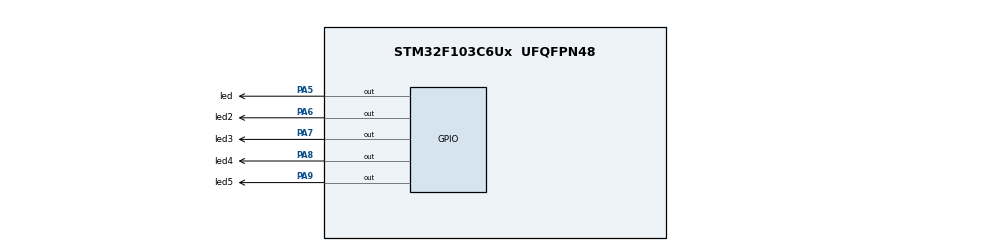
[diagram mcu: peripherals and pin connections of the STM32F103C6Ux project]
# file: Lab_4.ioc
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Mcu.Family=STM32F1
Mcu.Name=STM32F103C6Ux
Mcu.Package=UFQFPN48
NVIC.PriorityGroup=NVIC_PRIORITYGROUP_4
NVIC.TIM2_IRQn=true\:0\:0\:false\:false\:true\:true\:true
PA5.GPIO_Label=led
PA5.Signal=GPIO_Output
PA6.GPIO_Label=led2
PA6.Signal=GPIO_Output
PA7.GPIO_Label=led3
PA7.Signal=GPIO_Output
PA8.GPIO_Label=led4
PA8.Signal=GPIO_Output
PA9.GPIO_Label=led5
PA9.Signal=GPIO_Output
ProjectManager.HeapSize=0x200
ProjectManager.StackSize=0x400
ProjectManager.TargetToolchain=STM32CubeIDE
RCC.APB1Freq_Value=8000000
RCC.APB2Freq_Value=8000000
TIM2.Period=9
TIM2.Prescaler=7999
VP_SYS_VS_ND.Mode=No_Debug
VP_TIM2_VS_ClockSourceINT.Mode=Internal
board=custom

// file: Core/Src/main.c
/* USER CODE BEGIN Header */
/**
  ******************************************************************************
  * @file           : main.c
  * @brief          : Main program body
  ******************************************************************************
  * @attention
  *
  * <h2><center>&copy; Copyright (c) 2022 STMicroelectronics.
  * All rights reserved.</center></h2>
  *
  * This software component is licensed by ST under BSD 3-Clause license,
  * the "License"; You may not use this file except in compliance with the
  * License. You may obtain a copy of the License at:
  *                        opensource.org/licenses/BSD-3-Clause
  *
  ******************************************************************************
  */
/* USER CODE END Header */
#include "main.h"

/* USER CODE BEGIN Includes */
#include "scheduler.h"
/* USER CODE END Includes */

TIM_HandleTypeDef htim2;

void SystemClock_Config(void);
static void MX_TIM2_Init(void);
static void MX_GPIO_Init(void);

/* USER CODE BEGIN 0 */
void do_blink1(){
	HAL_GPIO_TogglePin(led_GPIO_Port, led_Pin);
}
void do_blink2(){
	HAL_GPIO_TogglePin(led2_GPIO_Port, led2_Pin);
}
void do_blink3(){
	HAL_GPIO_TogglePin(led3_GPIO_Port, led3_Pin);
}
void do_blink4(){
	HAL_GPIO_TogglePin(led4_GPIO_Port, led4_Pin);
}
void do_blink5(){
	HAL_GPIO_TogglePin(led5_GPIO_Port, led5_Pin);
}
/* USER CODE END 0 */

int main(void)
{

  /* MCU Configuration--------------------------------------------------------*/

  /* Reset of all peripherals, Initializes the Flash interface and the Systick. */
  HAL_Init();

  /* Configure the system clock */
  SystemClock_Config();

  /* Initialize all configured peripherals */
  MX_TIM2_Init();
  MX_GPIO_Init();
  /* USER CODE BEGIN 2 */
  HAL_TIM_Base_Start_IT(&htim2);
  SCH_Init();
  SCH_Add_Task(do_blink1,5,50);
  SCH_Add_Task(do_blink2,10,100);
  SCH_Add_Task(do_blink3,15,150);
  SCH_Add_Task(do_blink4,20,200);
  SCH_Add_Task(do_blink5,250,0);
  /* USER CODE END 2 */

  /* Infinite loop */
  /* USER CODE BEGIN WHILE */
  while (1)
  {
	  SCH_Dispatch_Tasks();
    /* USER CODE END WHILE */

  }
}

void SystemClock_Config(void)
{
  RCC_OscInitTypeDef RCC_OscInitStruct = {0};
  RCC_ClkInitTypeDef RCC_ClkInitStruct = {0};

  /** Initializes the RCC Oscillators according to the specified parameters
  * in the RCC_OscInitTypeDef structure.
  */
  RCC_OscInitStruct.OscillatorType = RCC_OSCILLATORTYPE_HSI;
  RCC_OscInitStruct.HSIState = RCC_HSI_ON;
  RCC_OscInitStruct.HSICalibrationValue = RCC_HSICALIBRATION_DEFAULT;
  RCC_OscInitStruct.PLL.PLLState = RCC_PLL_NONE;
  if (HAL_RCC_OscConfig(&RCC_OscInitStruct) != HAL_OK)
  {
    Error_Handler();
  }
  /** Initializes the CPU, AHB and APB buses clocks
  */
  RCC_ClkInitStruct.ClockType = RCC_CLOCKTYPE_HCLK|RCC_CLOCKTYPE_SYSCLK
                              |RCC_CLOCKTYPE_PCLK1|RCC_CLOCKTYPE_PCLK2;
  RCC_ClkInitStruct.SYSCLKSource = RCC_SYSCLKSOURCE_HSI;
  RCC_ClkInitStruct.AHBCLKDivider = RCC_SYSCLK_DIV1;
  RCC_ClkInitStruct.APB1CLKDivider = RCC_HCLK_DIV1;
  RCC_ClkInitStruct.APB2CLKDivider = RCC_HCLK_DIV1;

  if (HAL_RCC_ClockConfig(&RCC_ClkInitStruct, FLASH_LATENCY_0) != HAL_OK)
  {
    Error_Handler();
  }
}

static void MX_TIM2_Init(void)
{

  TIM_ClockConfigTypeDef sClockSourceConfig = {0};
  TIM_MasterConfigTypeDef sMasterConfig = {0};

  htim2.Instance = TIM2;
  htim2.Init.Prescaler = 7999;
  htim2.Init.CounterMode = TIM_COUNTERMODE_UP;
  htim2.Init.Period = 9;
  htim2.Init.ClockDivision = TIM_CLOCKDIVISION_DIV1;
  htim2.Init.AutoReloadPreload = TIM_AUTORELOAD_PRELOAD_DISABLE;
  if (HAL_TIM_Base_Init(&htim2) != HAL_OK)
  {
    Error_Handler();
  }
  sClockSourceConfig.ClockSource = TIM_CLOCKSOURCE_INTERNAL;
  if (HAL_TIM_ConfigClockSource(&htim2, &sClockSourceConfig) != HAL_OK)
  {
    Error_Handler();
  }
  sMasterConfig.MasterOutputTrigger = TIM_TRGO_RESET;
  sMasterConfig.MasterSlaveMode = TIM_MASTERSLAVEMODE_DISABLE;
  if (HAL_TIMEx_MasterConfigSynchronization(&htim2, &sMasterConfig) != HAL_OK)
  {
    Error_Handler();
  }

}

static void MX_GPIO_Init(void)
{
  GPIO_InitTypeDef GPIO_InitStruct = {0};

  /* GPIO Ports Clock Enable */
  __HAL_RCC_GPIOA_CLK_ENABLE();

  /*Configure GPIO pin Output Level */
  HAL_GPIO_WritePin(GPIOA, led_Pin|led2_Pin|led3_Pin|led4_Pin
                          |led5_Pin, GPIO_PIN_RESET);

  /*Configure GPIO pins : led_Pin led2_Pin led3_Pin led4_Pin
                           led5_Pin */
  GPIO_InitStruct.Pin = led_Pin|led2_Pin|led3_Pin|led4_Pin
                          |led5_Pin;
  GPIO_InitStruct.Mode = GPIO_MODE_OUTPUT_PP;
  GPIO_InitStruct.Pull = GPIO_NOPULL;
  GPIO_InitStruct.Speed = GPIO_SPEED_FREQ_LOW;
  HAL_GPIO_Init(GPIOA, &GPIO_InitStruct);

}

/* USER CODE BEGIN 4 */
void HAL_TIM_PeriodElapsedCallback(TIM_HandleTypeDef *htim ){
	SCH_Update();
}
/* USER CODE END 4 */

void Error_Handler(void)
{
  __disable_irq();
  while (1)
  {
  }
}

/************************ (C) COPYRIGHT STMicroelectronics *****END OF FILE****/
